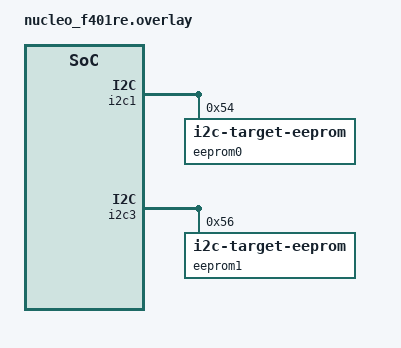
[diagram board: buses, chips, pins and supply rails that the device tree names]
/* SPDX-License-Identifier: Apache-2.0 */

/* I2C bus pins are exposed on the ST morpho header.
 *
 *  Bus        SDA               SCL
 *          Pin   Hdr         Pin   Hdr
 *  i2c1    PB9   CN5:9       PB8   CN5:10
 *  i2c3    PC9   CN10:1      PA8   CN9:8
 *
 * Short Pin PB9 to PC9, and PB8 to PA8, for the test to pass.
 */

&i2c1 {
	eeprom0: eeprom@54 {
		compatible = "zephyr,i2c-target-eeprom";
		reg = <0x54>;
		size = <256>;
	};
};

&i2c3 {
	eeprom1: eeprom@56 {
		compatible = "zephyr,i2c-target-eeprom";
		reg = <0x56>;
		size = <256>;
	};
};
